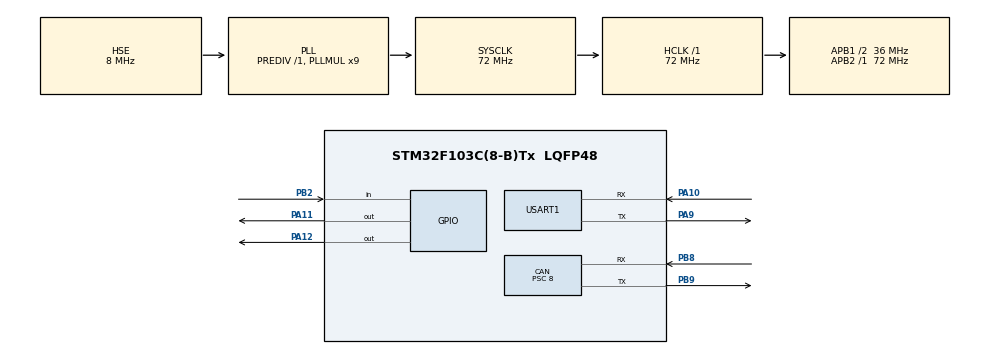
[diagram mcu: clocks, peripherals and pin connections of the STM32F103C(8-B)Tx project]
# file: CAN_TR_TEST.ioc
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CAN.BS1=CAN_BS1_14TQ
CAN.BS2=CAN_BS2_3TQ
CAN.CalculateBaudRate=250000
CAN.CalculateTimeBit=4000
CAN.CalculateTimeQuantum=222.22222222222223
CAN.Mode=CAN_MODE_NORMAL
CAN.Prescaler=8
Mcu.Family=STM32F1
Mcu.Name=STM32F103C(8-B)Tx
Mcu.Package=LQFP48
NVIC.CAN1_RX1_IRQn=true\:0\:0\:false\:false\:true\:true\:true\:true
NVIC.PriorityGroup=NVIC_PRIORITYGROUP_4
PA10.Mode=Asynchronous
PA10.Signal=USART1_RX
PA11.GPIO_PuPd=GPIO_PULLDOWN
PA11.Signal=GPIO_Output
PA12.GPIO_PuPd=GPIO_PULLDOWN
PA12.Signal=GPIO_Output
PA13.Mode=Serial_Wire
PA13.Signal=SYS_JTMS-SWDIO
PA14.Mode=Serial_Wire
PA14.Signal=SYS_JTCK-SWCLK
PA9.Mode=Asynchronous
PA9.Signal=USART1_TX
PB2.Signal=GPIO_Input
PB8.Mode=CAN_Activate
PB8.Signal=CAN_RX
PB9.Mode=CAN_Activate
PB9.Signal=CAN_TX
PC14-OSC32_IN.Mode=LSE-External-Oscillator
PC14-OSC32_IN.Signal=RCC_OSC32_IN
PC15-OSC32_OUT.Mode=LSE-External-Oscillator
PC15-OSC32_OUT.Signal=RCC_OSC32_OUT
PD0-OSC_IN.Mode=HSE-External-Oscillator
PD0-OSC_IN.Signal=RCC_OSC_IN
PD1-OSC_OUT.Mode=HSE-External-Oscillator
PD1-OSC_OUT.Signal=RCC_OSC_OUT
ProjectManager.HeapSize=0x200
ProjectManager.StackSize=0x400
ProjectManager.TargetToolchain=STM32CubeIDE
RCC.AHBFreq_Value=72000000
RCC.APB1CLKDivider=RCC_HCLK_DIV2
RCC.APB1Freq_Value=36000000
RCC.APB1TimFreq_Value=72000000
RCC.APB2Freq_Value=72000000
RCC.APB2TimFreq_Value=72000000
RCC.HCLKFreq_Value=72000000
RCC.PLLMUL=RCC_PLL_MUL9
RCC.PLLSourceVirtual=RCC_PLLSOURCE_HSE
RCC.SYSCLKFreq_VALUE=72000000
RCC.SYSCLKSource=RCC_SYSCLKSOURCE_PLLCLK
RCC.USBFreq_Value=72000000
USART1.VirtualMode=VM_ASYNC
board=custom

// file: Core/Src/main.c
/* USER CODE BEGIN Header */
/**
  ******************************************************************************
  * @file           : main.c
  * @brief          : Main program body
  ******************************************************************************
  * @attention
  *
  * Copyright (c) 2023 STMicroelectronics.
  * All rights reserved.
  *
  * This software is licensed under terms that can be found in the LICENSE file
  * in the root directory of this software component.
  * If no LICENSE file comes with this software, it is provided AS-IS.
  *
  ******************************************************************************
  */
/* USER CODE END Header */
#include "main.h"
#include "can.h"
#include "usart.h"
#include "gpio.h"

/* USER CODE BEGIN Includes */
#include <string.h>
#include <stdlib.h>
#include <stdio.h>
/* USER CODE END Includes */

void SystemClock_Config(void);

/* USER CODE BEGIN 0 */
static uint8_t buffer[8];

void can_receive()
{
    CAN_FilterTypeDef canFilterSt;
    canFilterSt.FilterActivation = ENABLE;
    canFilterSt.FilterMode = CAN_FILTERMODE_IDMASK;
    canFilterSt.FilterScale = CAN_FILTERSCALE_32BIT;
    canFilterSt.FilterIdHigh = 0x0000;
    canFilterSt.FilterIdLow = 0x0000;
    canFilterSt.FilterMaskIdHigh = 0x0000;
    canFilterSt.FilterMaskIdLow = 0x0000;
    canFilterSt.FilterBank = 0;
    canFilterSt.FilterFIFOAssignment = CAN_RX_FIFO1;
    HAL_CAN_ConfigFilter(&hcan, &canFilterSt);
    HAL_CAN_Start(&hcan);
    HAL_CAN_ActivateNotification(&hcan, CAN_IT_RX_FIFO1_MSG_PENDING);
}

CAN_TxHeaderTypeDef tx_msg = {
    .StdId = 0x50,
    .IDE = CAN_ID_STD,
    .RTR = CAN_RTR_DATA,
    .DLC = 0x08,
};

uint32_t send_box = CAN_TX_MAILBOX0;

uint8_t uart_send_buffer[32];

#define SEND 0

#if SEND
//输出接收到的数据
void HAL_CAN_RxFifo1MsgPendingCallback(CAN_HandleTypeDef *can)
{
    CAN_RxHeaderTypeDef rx_header;
    HAL_CAN_GetRxMessage(&hcan, CAN_RX_FIFO1, &rx_header, buffer);
    tx_msg.DLC = rx_header.DLC;
    sprintf((char *) uart_send_buffer, "rx: %s\r\n", buffer);
    HAL_UART_Transmit(&huart1, uart_send_buffer, strlen((char *) uart_send_buffer), 100);
    memset(uart_send_buffer, 0, 32);
}
#else
// 接收数据转发
void HAL_CAN_RxFifo1MsgPendingCallback(CAN_HandleTypeDef *can)
{
    CAN_RxHeaderTypeDef rx_header;
    HAL_CAN_GetRxMessage(&hcan, CAN_RX_FIFO1, &rx_header, buffer);
    tx_msg.DLC = rx_header.DLC;
    HAL_CAN_AddTxMessage(&hcan, &tx_msg, buffer, &send_box);
    sprintf((char *) uart_send_buffer,
            "rx: %d %d %d\r\n",
            *(uint16_t *) buffer,
            *(uint16_t *) (buffer + 2),
            *(uint16_t *) (buffer + 4));
    HAL_UART_Transmit(&huart1, uart_send_buffer, strlen((char *) uart_send_buffer), 100);
    memset(uart_send_buffer, 0, 32);
}
#endif
/* USER CODE END 0 */

int main(void)
{

    /* MCU Configuration--------------------------------------------------------*/

    /* Reset of all peripherals, Initializes the Flash interface and the Systick. */
    HAL_Init();

    /* Configure the system clock */
    SystemClock_Config();

    /* Initialize all configured peripherals */
    MX_GPIO_Init();
    MX_USART1_UART_Init();
    MX_CAN_Init();
    /* USER CODE BEGIN 2 */
    can_receive();

    /* USER CODE END 2 */

    /* Infinite loop */
    /* USER CODE BEGIN WHILE */
    int cnt = 0;
    uint8_t test_buffer[8];
    while (1) {
        HAL_Delay(500);
#if SEND
        tx_msg.DLC = 3;
        cnt++;
        if (cnt >= 10000) {
            cnt = 0;
        }
        sprintf((char *) test_buffer, "%d", cnt);
        HAL_CAN_AddTxMessage(&hcan, &tx_msg, test_buffer, &send_box);
#endif
        /* USER CODE END WHILE */

    }
}

void SystemClock_Config(void)
{
    RCC_OscInitTypeDef RCC_OscInitStruct = {0};
    RCC_ClkInitTypeDef RCC_ClkInitStruct = {0};

    /** Initializes the RCC Oscillators according to the specified parameters
    * in the RCC_OscInitTypeDef structure.
    */
    RCC_OscInitStruct.OscillatorType = RCC_OSCILLATORTYPE_HSE;
    RCC_OscInitStruct.HSEState = RCC_HSE_ON;
    RCC_OscInitStruct.HSEPredivValue = RCC_HSE_PREDIV_DIV1;
    RCC_OscInitStruct.HSIState = RCC_HSI_ON;
    RCC_OscInitStruct.PLL.PLLState = RCC_PLL_ON;
    RCC_OscInitStruct.PLL.PLLSource = RCC_PLLSOURCE_HSE;
    RCC_OscInitStruct.PLL.PLLMUL = RCC_PLL_MUL9;
    if (HAL_RCC_OscConfig(&RCC_OscInitStruct) != HAL_OK) {
        Error_Handler();
    }

    /** Initializes the CPU, AHB and APB buses clocks
    */
    RCC_ClkInitStruct.ClockType = RCC_CLOCKTYPE_HCLK | RCC_CLOCKTYPE_SYSCLK
        | RCC_CLOCKTYPE_PCLK1 | RCC_CLOCKTYPE_PCLK2;
    RCC_ClkInitStruct.SYSCLKSource = RCC_SYSCLKSOURCE_PLLCLK;
    RCC_ClkInitStruct.AHBCLKDivider = RCC_SYSCLK_DIV1;
    RCC_ClkInitStruct.APB1CLKDivider = RCC_HCLK_DIV2;
    RCC_ClkInitStruct.APB2CLKDivider = RCC_HCLK_DIV1;

    if (HAL_RCC_ClockConfig(&RCC_ClkInitStruct, FLASH_LATENCY_2) != HAL_OK) {
        Error_Handler();
    }
}

void Error_Handler(void)
{
    __disable_irq();
    while (1) {
    }
}
